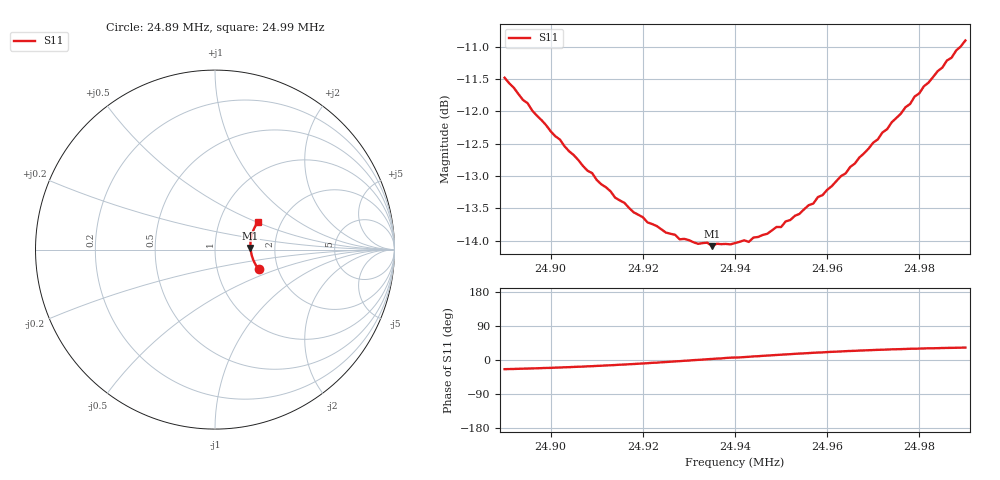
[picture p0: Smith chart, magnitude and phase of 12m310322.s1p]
# MHz S MA R 50
!  freq  S11
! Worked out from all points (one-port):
!   100 points, 24.89 MHz to 24.99 MHz, reference 50 ohm
!   lowest |S11| = -14.1 dB at 24.935 MHz (marker M1), VSWR 1.49, Z = 74.6 + j1.48 ohm
!   |S11| at or under -10 dB: start of sweep to end of sweep
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24.89  0.2667 -24.2
24.903  0.2361 -19.2
24.908  0.226 -16.6
24.909  0.225 -16.3
24.91  0.2223 -15.6
24.915  0.2144 -12.4
24.921  0.2061 -8.5
24.927  0.2016 -3.7
24.928  0.2 -3.0
24.932  0.1984 0.3
24.934  0.1988 2.0
24.935  0.1976 2.8
24.939  0.1982 6.2
24.941  0.1991 6.8
24.943  0.1991 8.5
24.944  0.2006 9.5
24.947  0.202 11.7
24.949  0.2044 13.2
24.95  0.2044 14.0
24.953  0.2086 16.3
24.957  0.2132 19.0
24.965  0.2275 23.8
24.978  0.2545 29.6
24.979  0.258 29.8
24.98  0.2594 30.1
24.986  0.2751 31.9
24.987  0.2764 32.0
24.99  0.2851 32.8
